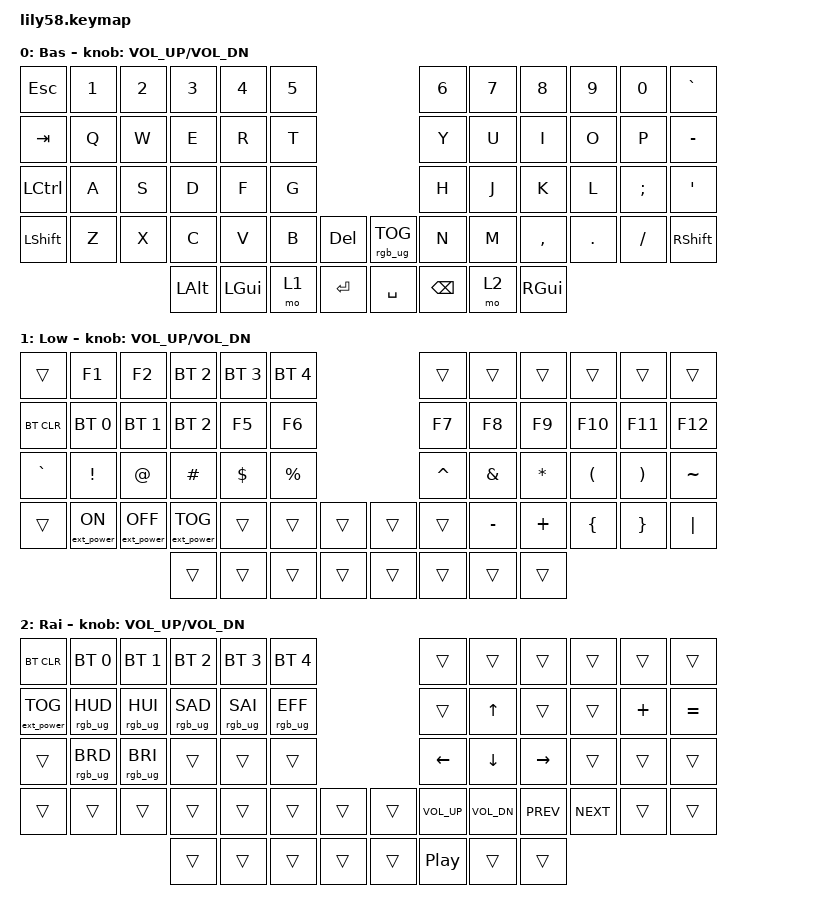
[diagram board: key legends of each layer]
/*
 * Copyright (c) 2020 The ZMK Contributors
 *
 * SPDX-License-Identifier: MIT
 */

#include <behaviors.dtsi>
#include <dt-bindings/zmk/keys.h>
#include <dt-bindings/zmk/bt.h>
#include <dt-bindings/zmk/ext_power.h>
#include <dt-bindings/zmk/rgb.h>
#include <dt-bindings/zmk/backlight.h>
#include <dt-bindings/zmk/reset.h>
#include <dt-bindings/zmk/outputs.h>

&led_strip {
    chain-length = <35>;
};

/ {
    keymap {
        compatible = "zmk,keymap";

        default_layer {
// ------------------------------------------------------------------------------------------------------------
// |  ESC  |  1  |  2  |  3   |  4   |  5   |                   |  6   |  7    |  8    |  9   |   0   |   `   |
// |  TAB  |  Q  |  W  |  E   |  R   |  T   |                   |  Y   |  U    |  I    |  O   |   P   |   -   |
// |  CTRL |  A  |  S  |  D   |  F   |  G   |                   |  H   |  J    |  K    |  L   |   ;   |   '   |
// | SHIFT |  Z  |  X  |  C   |  V   |  B   |  DELETE|  |RGB_TOG|  N   |  M    |  ,    |  .   |   /   | SHIFT |
//                     | ALT  | GUI  | LOWER|  ENTER |  | SPACE | BSPC | RAISE | GUI   |
            display-name = "Bas";
            bindings = <
&kp ESC   &kp N1 &kp N2 &kp N3   &kp N4   &kp N5                            &kp N6    &kp N7   &kp N8    &kp N9   &kp N0   &kp GRAVE
&kp TAB   &kp Q  &kp W  &kp E    &kp R    &kp T                             &kp Y     &kp U    &kp I     &kp O    &kp P    &kp MINUS
&kp LCTRL &kp A  &kp S  &kp D    &kp F    &kp G                             &kp H     &kp J    &kp K     &kp L    &kp SEMI &kp SQT
&kp LSHFT &kp Z  &kp X  &kp C    &kp V    &kp B  &kp DEL   &rgb_ug RGB_TOG  &kp N     &kp M    &kp COMMA &kp DOT  &kp FSLH &kp RSHFT
                        &kp LALT &kp LGUI &mo 1  &kp RET   &kp SPACE        &kp BSPC  &mo 2    &kp RGUI
            >;

            sensor-bindings = <&inc_dec_kp C_VOL_UP C_VOL_DN>;
        };

        lower_layer {
// ------------------------------------------------------------------------------------------------------------
// |       | F1  |  F2 |  F3  |  F4  |  F5  |                   |  F6  |  F7   |  F8   |  F9  |  F10  |  F11  |
// | BTCLR | BT1 | BT2 |  BT3 | BT4  | BT6  |                   |      |       |       |      |       |  F12  |
// |   `   |  !  |  @  |  #   |  $   |  %   |                   |  ^   |  &    |  *    |  (   |   )   |   ~   |
// |EXTPWR |     |     |      |      |      |        |  |       |      |  _    |  +    |  {   |   }   |  "|"  |
//                     |      |      |      |        |  |       |      |       |       |
            display-name = "Low";
            bindings = <
&trans     &kp F1           &kp F2            &bt BT_SEL 2      &bt BT_SEL 3 &bt BT_SEL 4                 &trans    &trans    &trans    &trans    &trans    &trans
&bt BT_CLR &bt BT_SEL 0     &bt BT_SEL 1      &bt BT_SEL 2      &kp F5       &kp F6                       &kp F7    &kp F8    &kp F9    &kp F10   &kp F11   &kp F12
&kp GRAVE  &kp EXCL         &kp AT            &kp HASH          &kp DOLLAR   &kp PRCNT                    &kp CARET &kp AMPS  &kp ASTRK &kp LPAR  &kp RPAR  &kp TILDE
&trans     &ext_power EP_ON &ext_power EP_OFF &ext_power EP_TOG &trans       &trans    &trans   &trans    &trans    &kp MINUS &kp PLUS  &kp LBRC  &kp RBRC  &kp PIPE
                                              &trans            &trans       &trans    &trans   &trans    &trans    &trans    &trans
            >;

            sensor-bindings = <&inc_dec_kp C_VOL_UP C_VOL_DN>;
        };

        raise_layer {
// ----------------------------------------------------------------------------------------------------------------------------
// | BTCLR  |  BT1    |  BT2    |   BT3   |   BT4   |   BT5   |                  |         |        |         |         |         |       |
// | EXTPWR | RGB_HUD | RGB_HUI | RGB_SAD | RGB_SAI | RGB_EFF |                  |         |   UP   |         |         |    +    |   =   |
// |        | RGB_BRD | RGB_BRI |         |         |         |                  |  LEFT   |  DOWN  |  RIGHT  |         |         |       |
// |        |         |         |         |         |         | RGB_TOG | |      | VOL_UP  | VOL_DN | PRV_SNG | NXT_SNG |         |       |
//                              |         |         |         |         | |      | PLY_PSE |        |         |      
            display-name = "Rai";
            bindings = <
&bt BT_CLR        &bt BT_SEL 0    &bt BT_SEL 1    &bt BT_SEL 2    &bt BT_SEL 3    &bt BT_SEL 4                     &trans       &trans       &trans      &trans     &trans       &trans
&ext_power EP_TOG &rgb_ug RGB_HUD &rgb_ug RGB_HUI &rgb_ug RGB_SAD &rgb_ug RGB_SAI &rgb_ug RGB_EFF                  &trans       &kp UP       &trans      &trans     &kp PLUS     &kp EQUAL
&trans            &rgb_ug RGB_BRD &rgb_ug RGB_BRI &trans           &trans         &trans                           &kp LEFT     &kp DOWN     &kp RIGHT   &trans     &trans       &trans
&trans            &trans          &trans          &trans           &trans         &trans        &trans     &trans  &kp C_VOL_UP &kp C_VOL_DN &kp C_PREV  &kp C_NEXT &trans       &trans
                                                  &trans           &trans         &trans        &trans     &trans  &kp C_PP     &trans       &trans
            >;

            sensor-bindings = <&inc_dec_kp C_VOL_UP C_VOL_DN>;
        };

        extra_1 {
            status = "reserved";
        };

        extra_2 {
            status = "reserved";
        };

        extra_3 {
            status = "reserved";
        };
    };
};
